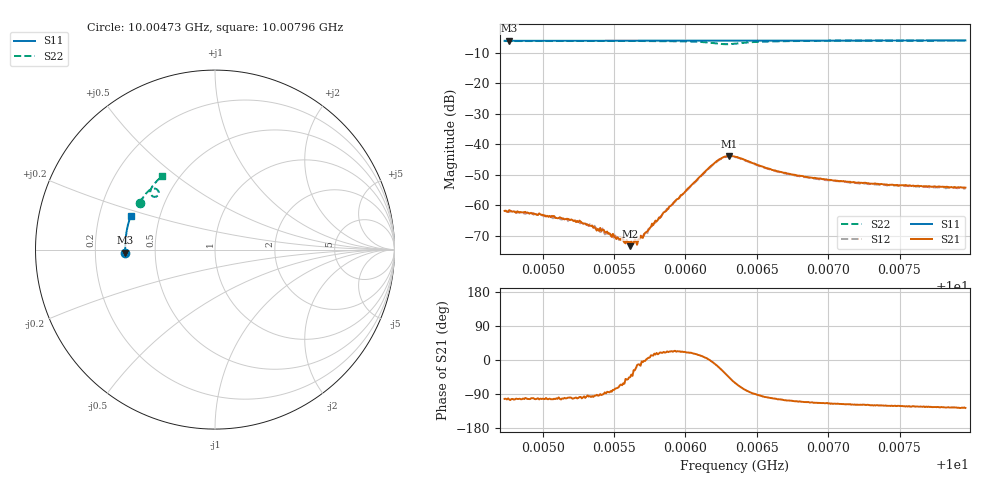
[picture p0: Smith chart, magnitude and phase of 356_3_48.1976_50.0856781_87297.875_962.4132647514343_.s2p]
#  HZ  S  RI  R  50.00
! Rohde & Schwarz Vector Network Analyzer
! Rohde-Schwarz,ZNB20-2Port,1311601062101988,3.16
! Created: UTC 3/20/2024, 11:52:01 AM
! freq[Hz]  re:S11  im:S11  re:S21  im:S21  re:S12  im:S12  re:S22  im:S22
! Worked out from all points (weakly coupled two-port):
!   401 points, 10.00473 GHz to 10.00796 GHz, reference 50 ohm
!   highest |S21| = -43.80 dB at 10.00631 GHz (marker M1); lowest = -73.4 dB at 10.00561 GHz (marker M2)
!   lowest |S11| = -6.0 dB at 10.00476 GHz (marker M3), VSWR 2.99, Z = 16.7 - j0.777 ohm
!   |S11| at or under -10 dB: nowhere
!   |S22| runs from -7.2 to -6.0 dB; largest |S21 - S12| = 0.00036
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1.0004733e10  -0.4988 -0.0196  -0.000176 -0.000793  -0.000161 -0.000794  -0.4185 0.2618
1.0004765e10  -0.4988 -0.0175  -0.000205 -0.000809  -0.000139 -0.000767  -0.4174 0.2638
1.0005039e10  -0.4997 0.000479  -0.000151 -0.000632  -0.000144 -0.000662  -0.4077 0.2799
1.0005225e10  -0.4999 0.0124  -9.56e-05 -0.000551  -6.83e-05 -0.000566  -0.4005 0.291
1.0005274e10  -0.5001 0.0157  -0.0001 -0.000507  -6.01e-05 -0.000518  -0.3985 0.2939
1.0005346e10  -0.4999 0.0205  -4.29e-05 -0.000465  -1.68e-05 -0.000458  -0.3955 0.2983
1.0005435e10  -0.4999 0.0261  2.81e-05 -0.000364  5.13e-05 -0.000331  -0.3915 0.3037
1.00055e10  -0.4997 0.0304  5.94e-05 -0.000306  4.78e-05 -0.000281  -0.3885 0.3075
1.0005613e10  -0.4994 0.0377  0.000151 -0.000152  0.000185 -0.000136  -0.3829 0.3144
1.0005645e10  -0.4994 0.0397  0.000247 -0.000126  0.000219 -0.000108  -0.3811 0.3164
1.0005677e10  -0.4992 0.0418  0.000275 -5.65e-05  0.000259 -7.16e-05  -0.3793 0.3185
1.0005814e10  -0.4987 0.0506  0.000601 0.00019  0.000571 0.000191  -0.3702 0.3271
1.0005903e10  -0.4982 0.0564  0.000929 0.000407  0.000915 0.000419  -0.363 0.3327
1.0006186e10  -0.496 0.0746  0.00452 -0.000348  0.00448 -0.000124  -0.3191 0.3315
1.000625e10  -0.4954 0.0785  0.00535 -0.00248  0.00537 -0.00218  -0.3135 0.3124
1.0006307e10  -0.495 0.0819  0.00444 -0.00469  0.00457 -0.00437  -0.3246 0.2966
1.0006347e10  -0.4945 0.0844  0.00312 -0.00546  0.00332 -0.00523  -0.3375 0.2938
1.0006622e10  -0.4925 0.1019  -0.000767 -0.00365  -0.000625 -0.00364  -0.3583 0.3328
1.0006888e10  -0.4892 0.1188  -0.00105 -0.00264  -0.000951 -0.00263  -0.3468 0.3555
1.0007154e10  -0.4855 0.1357  -0.0011 -0.00218  -0.000959 -0.00212  -0.3336 0.3718
1.0007429e10  -0.481 0.1527  -0.00112 -0.00186  -0.000978 -0.0019  -0.3199 0.3861
1.0007962e10  -0.4704 0.1853  -0.00116 -0.00157  -0.00105 -0.00158  -0.2927 0.4101
